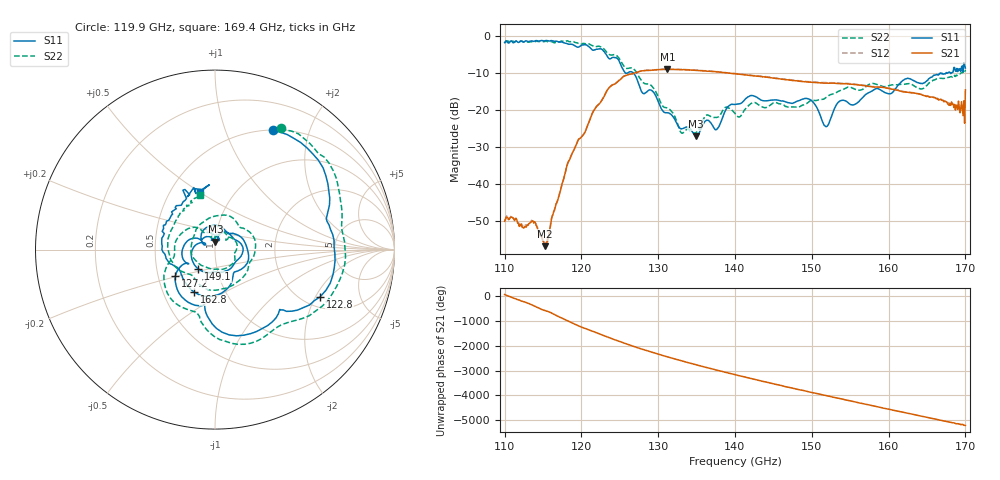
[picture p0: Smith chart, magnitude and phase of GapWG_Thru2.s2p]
!Keysight Technologies,N5245B,MY49151002,A.19.00.09
!Date: Tuesday, March 11, 2025 14:44:14
!Correction: S11(C  2-Port  )
!S21(C  2-Port  )
!S12(C  2-Port  )
!S22(C  2-Port  )
!S2P File: Measurements: S11, S21, S12, S22:
# Hz S  dB  R 50
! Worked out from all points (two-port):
!   601 points, 110 GHz to 170 GHz, reference 50 ohm
!   highest |S21| = -8.99 dB at 131.2 GHz (marker M1); lowest = -56.9 dB at 115.2 GHz (marker M2)
!   |S21| within 3 dB of the highest: 124.9 GHz to 147.3 GHz (22.43 GHz wide, 16.5 % of centre)
!   lowest |S11| = -27.1 dB at 134.9 GHz (marker M3), VSWR 1.09, Z = 50 + j4.41 ohm
!   |S11| at or under -10 dB: 125.743 GHz to 126.0006 GHz (257.6 MHz wide, 0.205 % of centre); 126.8 GHz to 166.8 GHz (40.01 GHz wide, 27.3 % of centre); 166.8164 GHz to 167.4667 GHz (650.4 MHz wide, 0.389 % of centre)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
!   |S22| runs from -26.3 to -1.3 dB; largest |S21 - S12| = 0.13
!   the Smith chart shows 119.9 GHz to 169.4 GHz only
!   S11 on the Smith chart (normalised r, x): 119.9 GHz: 0.50, +1.47; 122.8 GHz: 2.45, -2.18; 127.2 GHz: 0.61, -0.20; 149.1 GHz: 0.81, -0.18; 162.8 GHz: 0.71, -0.36; 169.4 GHz: 0.70, +0.50
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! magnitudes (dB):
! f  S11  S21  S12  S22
! 110 GHz  -1.8  -50.2  -49.9  -1.6
! 113.8 GHz  -1.4  -50.7  -50.3  -1.6
! 115.2 GHz  -1.3  -56.9  -56.6  -1.5
! 119.9 GHz  -2.6  -27.6  -27.5  -2.3
! 120 GHz  -2.5  -27.4  -27.3  -2.2
! 122.8 GHz  -3.9  -16.9  -16.9  -3.2
! 127.2 GHz  -11.5  -9.8  -9.8  -10.0
! 130 GHz  -17.7  -9.1  -9.0  -16.4
! 131.2 GHz  -20.8  -9.0  -9.0  -19.5
! 133 GHz  -25.2  -9.1  -9.0  -26.2
! 134.9 GHz  -27.1  -9.3  -9.2  -26.2
! 136.3 GHz  -22.8  -9.5  -9.4  -21.4
! 137.6 GHz  -25.3  -9.7  -9.6  -22.1
! 140 GHz  -18.5  -10.2  -10.1  -20.9
! 149.1 GHz  -16.9  -12.4  -12.3  -18.5
! 150 GHz  -17.5  -12.5  -12.4  -17.4
! 151.9 GHz  -24.6  -12.7  -12.6  -16.6
! 153.7 GHz  -17.5  -12.9  -12.8  -14.7
! 160 GHz  -15.6  -14.2  -14.1  -13.5
! 162.8 GHz  -11.6  -15.3  -15.2  -12.9
! 169.4 GHz  -9.6  -19.7  -19.0  -10.0
! 170 GHz  -8.7  -14.6  -19.6  -9.2
